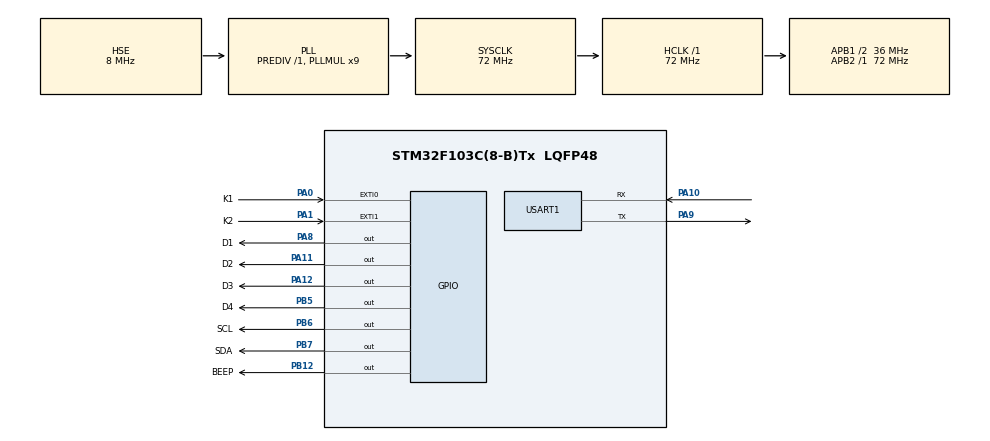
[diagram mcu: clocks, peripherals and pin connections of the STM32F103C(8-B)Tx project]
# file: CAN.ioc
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Mcu.Family=STM32F1
Mcu.Name=STM32F103C(8-B)Tx
Mcu.Package=LQFP48
Mcu.UserConstants=rxbuff,125
NVIC.EXTI0_IRQn=true\:12\:0\:true\:false\:true\:true\:true
NVIC.EXTI1_IRQn=true\:11\:0\:true\:false\:true\:true\:true
NVIC.PriorityGroup=NVIC_PRIORITYGROUP_4
NVIC.USART1_IRQn=true\:2\:0\:true\:false\:true\:true\:true
PA0-WKUP.GPIO_Label=K1
PA0-WKUP.GPIO_ModeDefaultEXTI=GPIO_MODE_IT_FALLING
PA0-WKUP.GPIO_PuPd=GPIO_PULLDOWN
PA0-WKUP.Signal=GPXTI0
PA1.GPIO_Label=K2
PA1.GPIO_ModeDefaultEXTI=GPIO_MODE_IT_RISING
PA1.GPIO_PuPd=GPIO_PULLUP
PA1.Signal=GPXTI1
PA10.Mode=Asynchronous
PA10.Signal=USART1_RX
PA11.GPIO_Label=D2
PA11.GPIO_Speed=GPIO_SPEED_FREQ_HIGH
PA11.PinState=GPIO_PIN_SET
PA11.Signal=GPIO_Output
PA12.GPIO_Label=D3
PA12.GPIO_Speed=GPIO_SPEED_FREQ_HIGH
PA12.PinState=GPIO_PIN_SET
PA12.Signal=GPIO_Output
PA8.GPIO_Label=D1
PA8.GPIO_Speed=GPIO_SPEED_FREQ_HIGH
PA8.PinState=GPIO_PIN_SET
PA8.Signal=GPIO_Output
PA9.Mode=Asynchronous
PA9.Signal=USART1_TX
PB12.GPIO_Label=BEEP
PB12.GPIO_Speed=GPIO_SPEED_FREQ_HIGH
PB12.PinState=GPIO_PIN_RESET
PB12.Signal=GPIO_Output
PB5.GPIO_Label=D4
PB5.GPIO_Speed=GPIO_SPEED_FREQ_HIGH
PB5.PinState=GPIO_PIN_SET
PB5.Signal=GPIO_Output
PB6.GPIO_Label=SCL
PB6.GPIO_Speed=GPIO_SPEED_FREQ_HIGH
PB6.Signal=GPIO_Output
PB7.GPIO_Label=SDA
PB7.GPIO_Speed=GPIO_SPEED_FREQ_HIGH
PB7.Signal=GPIO_Output
PD0-OSC_IN.Mode=HSE-External-Oscillator
PD0-OSC_IN.Signal=RCC_OSC_IN
PD1-OSC_OUT.Mode=HSE-External-Oscillator
PD1-OSC_OUT.Signal=RCC_OSC_OUT
ProjectManager.HeapSize=0x200
ProjectManager.StackSize=0x400
ProjectManager.TargetToolchain=Makefile
RCC.AHBFreq_Value=72000000
RCC.APB1CLKDivider=RCC_HCLK_DIV2
RCC.APB1Freq_Value=36000000
RCC.APB1TimFreq_Value=72000000
RCC.APB2Freq_Value=72000000
RCC.APB2TimFreq_Value=72000000
RCC.HCLKFreq_Value=72000000
RCC.PLLMUL=RCC_PLL_MUL9
RCC.PLLSourceVirtual=RCC_PLLSOURCE_HSE
RCC.SYSCLKFreq_VALUE=72000000
RCC.SYSCLKSource=RCC_SYSCLKSOURCE_PLLCLK
RCC.USBFreq_Value=72000000
USART1.VirtualMode=VM_ASYNC
VP_SYS_VS_ND.Mode=No_Debug
board=custom

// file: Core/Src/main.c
/* USER CODE BEGIN Header */
/**
 ******************************************************************************
 * @file           : main.c
 * @brief          : Main program body
 ******************************************************************************
 * @attention
 *
 * <h2><center>&copy; Copyright (c) 2022 STMicroelectronics.
 * All rights reserved.</center></h2>
 *
 * This software component is licensed by ST under BSD 3-Clause license,
 * the "License"; You may not use this file except in compliance with the
 * License. You may obtain a copy of the License at:
 *                        opensource.org/licenses/BSD-3-Clause
 *
 ******************************************************************************
 */
/* USER CODE END Header */
#include "main.h"
#include "usart.h"
#include "gpio.h"

/* USER CODE BEGIN Includes */
#include <string.h>
#include "ATH10.h"
#include <stdio.h>
#define RXBUFFERSIZE 256     //最大接收字节数
char RxBuffer[RXBUFFERSIZE]; //接收数据
uint8_t aRxBuffer;           //接收中断缓冲
uint8_t aTxBuffer;           //发送中断缓冲
uint8_t Uart1_Rx_Cnt = 0;    //接收缓冲计数
/* USER CODE END Includes */

void SystemClock_Config(void);

/* USER CODE BEGIN 0 */
char str[12] = "Hello World\n";
/* USER CODE END 0 */

int main(void)
{

  /* MCU Configuration--------------------------------------------------------*/

  /* Reset of all peripherals, Initializes the Flash interface and the Systick. */
  HAL_Init();

  /* Configure the system clock */
  SystemClock_Config();

  /* Initialize all configured peripherals */
  MX_GPIO_Init();
  MX_USART1_UART_Init();
  /* USER CODE BEGIN 2 */
  HAL_UART_Receive_IT(&huart1, (uint8_t *)&aRxBuffer, 1);
  HAL_UART_Transmit_IT(&huart1, (uint8_t *)&aTxBuffer, 1);
  /* USER CODE END 2 */

  /* Infinite loop */
  while (1)
  {

    /* USER CODE BEGIN 3 */

    HAL_Delay(1000);
    HAL_Delay(1000);
    HAL_Delay(1000);
    HAL_GPIO_WritePin(GPIOA, GPIO_PIN_0, GPIO_PIN_SET);
    HAL_UART_Transmit(&huart1, (uint8_t *)str, 12, 0xFFFF);
    HAL_Delay(100);
    HAL_GPIO_WritePin(GPIOA, GPIO_PIN_0, GPIO_PIN_RESET);
    HAL_UART_Transmit_IT(&huart1, (uint8_t *)&aTxBuffer, 1);
    HAL_Delay(1000);

    HAL_Delay(1000);
    HAL_Delay(1000);
  }
  /* USER CODE END 3 */
}

void SystemClock_Config(void)
{
  RCC_OscInitTypeDef RCC_OscInitStruct = {0};
  RCC_ClkInitTypeDef RCC_ClkInitStruct = {0};

  /** Initializes the RCC Oscillators according to the specified parameters
   * in the RCC_OscInitTypeDef structure.
   */
  RCC_OscInitStruct.OscillatorType = RCC_OSCILLATORTYPE_HSE;
  RCC_OscInitStruct.HSEState = RCC_HSE_ON;
  RCC_OscInitStruct.HSEPredivValue = RCC_HSE_PREDIV_DIV1;
  RCC_OscInitStruct.HSIState = RCC_HSI_ON;
  RCC_OscInitStruct.PLL.PLLState = RCC_PLL_ON;
  RCC_OscInitStruct.PLL.PLLSource = RCC_PLLSOURCE_HSE;
  RCC_OscInitStruct.PLL.PLLMUL = RCC_PLL_MUL9;
  if (HAL_RCC_OscConfig(&RCC_OscInitStruct) != HAL_OK)
  {
    Error_Handler();
  }
  /** Initializes the CPU, AHB and APB buses clocks
   */
  RCC_ClkInitStruct.ClockType = RCC_CLOCKTYPE_HCLK | RCC_CLOCKTYPE_SYSCLK | RCC_CLOCKTYPE_PCLK1 | RCC_CLOCKTYPE_PCLK2;
  RCC_ClkInitStruct.SYSCLKSource = RCC_SYSCLKSOURCE_PLLCLK;
  RCC_ClkInitStruct.AHBCLKDivider = RCC_SYSCLK_DIV1;
  RCC_ClkInitStruct.APB1CLKDivider = RCC_HCLK_DIV2;
  RCC_ClkInitStruct.APB2CLKDivider = RCC_HCLK_DIV1;

  if (HAL_RCC_ClockConfig(&RCC_ClkInitStruct, FLASH_LATENCY_2) != HAL_OK)
  {
    Error_Handler();
  }
}

/* USER CODE BEGIN 4 */
void delay_us(uint32_t udelay)
{
  uint32_t startval,tickn,delays,wait;

  startval = SysTick->VAL;
  tickn = HAL_GetTick();
  //sysc = 72000;  //SystemCoreClock / (1000U / uwTickFreq);
  delays =udelay * 72; //sysc / 1000 * udelay;
  if(delays > startval)
    {
      while(HAL_GetTick() == tickn)
        {

        }
      wait = 72000 + startval - delays;
      while(wait < SysTick->VAL)
        {

        }
    }
  else
    {
      wait = startval - delays;
      while(wait < SysTick->VAL && HAL_GetTick() == tickn)
        {

        }
    }
}
/**
 * 函数功能: 按键外部中断回调函数
 * 输入参数: GPIO_Pin：中断引脚
 * 返 回 值: 无
 * 说    明: 无
 */
void HAL_GPIO_EXTI_Callback(uint16_t GPIO_Pin)
{
  if (GPIO_Pin == GPIO_PIN_0)
  {
    HAL_Delay(20); /* 延时一小段时间，消除抖动 */
    if (HAL_GPIO_ReadPin(K1_GPIO_Port, GPIO_PIN_0) == GPIO_PIN_RESET)
    {
      HAL_GPIO_TogglePin(D1_GPIO_Port, D1_Pin | D2_Pin | D3_Pin);
    }
  }
  else if (GPIO_Pin == GPIO_PIN_1)
  {
    HAL_Delay(20); /* 延时一小段时间，消除抖动 */
    if (HAL_GPIO_ReadPin(K2_GPIO_Port, GPIO_PIN_1) == GPIO_PIN_SET)
    {
      beep_500ms();
    }
  }
}
/* USER CODE BEGIN 4 */

void HAL_UART_RxCpltCallback(UART_HandleTypeDef *huart)
{
  /* Prevent unused argument(s) compilation warning */
  UNUSED(huart);
  /* NOTE: This function Should not be modified, when the callback is needed,
           the HAL_UART_TxCpltCallback could be implemented in the user file
   */

  if (Uart1_Rx_Cnt >= 255) //溢出判断
  {
    Uart1_Rx_Cnt = 0;
    memset(RxBuffer, 0x00, sizeof(RxBuffer));
    HAL_UART_Transmit(&huart1, (uint8_t *)"数据溢出", 10, 0xFFFF);
  }
  else
  {
    RxBuffer[Uart1_Rx_Cnt++] = aRxBuffer; //接收数据转存

    if ((RxBuffer[Uart1_Rx_Cnt - 1] == 0x0A) && (RxBuffer[Uart1_Rx_Cnt - 2] == 0x0D)) //判断结束位
    {
      HAL_UART_Transmit(&huart1, (uint8_t *)&RxBuffer, Uart1_Rx_Cnt, 0xFFFF); //将收到的信息发送出去
      while (HAL_UART_GetState(&huart1) == HAL_UART_STATE_BUSY_TX)
        ; //检测UART发送结束
      Uart1_Rx_Cnt = 0;
      memset(RxBuffer, 0x00, sizeof(RxBuffer)); //清空数组
    }
  }

  HAL_UART_Receive_IT(&huart1, (uint8_t *)&aRxBuffer, 1); //再开启接收中断
}
void HAL_UART_TxCpltCallback(UART_HandleTypeDef *huart)
{
  beep_500ms();
  HAL_UART_Transmit(&huart1, (u_int8_t *)"产生中断", 10, 0xFFFF);
}
/* USER CODE END 4 */

void Error_Handler(void)
{
  __disable_irq();
  while (1)
  {
  }
}

/************************ (C) COPYRIGHT STMicroelectronics *****END OF FILE****/
